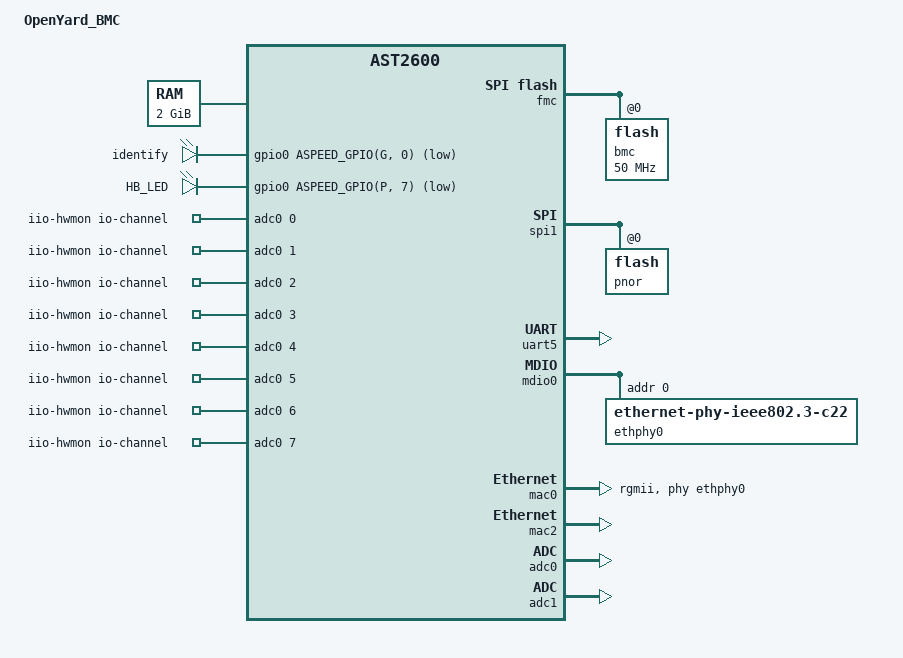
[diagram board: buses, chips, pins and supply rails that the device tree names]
// SPDX-License-Identifier: GPL-2.0
// Copyright (c) 2017 Intel Corporation
/dts-v1/;

#include "aspeed-g6.dtsi"
#include "aspeed-g6-pinctrl.dtsi"
#include <dt-bindings/gpio/aspeed-gpio.h>
#include <dt-bindings/leds/leds-pca955x.h>

/ {
	model = "OpenYard_BMC";
	compatible = "intel,s2600wf-bmc", "aspeed,ast2600";

	chosen {
		stdout-path = &uart5;
		bootargs = "earlycon";
	};

	memory@80000000 {
		device_type = "memory";
		reg = <0x80000000 0x80000000>;
	};

	leds {
        compatible = "gpio-leds";

        // UID led
        identify {
            default-state = "off";
            gpios = <&gpio0 ASPEED_GPIO(G, 0) GPIO_ACTIVE_LOW>;
        };

        // Heart beat led
        heartbeat {
        	label = "HB_LED";
         	gpios = <&gpio0 ASPEED_GPIO(P, 7) GPIO_ACTIVE_LOW>;
			linux,default-trigger = "heartbeat";
        };
    };

//	reserved-memory {
//		#address-cells = <1>;
//		#size-cells = <1>;
//		ranges;
//
//		vga_memory: framebuffer@9f000000 {
//			no-map;
//			reg = <0x9f000000 0x01000000>; /* 16M */
//		};
//	};
//
	iio-hwmon {
		compatible = "iio-hwmon";
		io-channels = <&adc0 0>, <&adc0 1>, <&adc0 2>, <&adc0 3>,
			<&adc0 4>, <&adc0 5>, <&adc0 6>, <&adc0 7>,
			<&adc1 0>, <&adc1 1>, <&adc1 2>, <&adc1 3>,
			<&adc1 4>, <&adc1 5>, <&adc1 6>, <&adc1 7>;
	};

};

&fmc {
	status = "okay";
	flash@0 {
		status = "okay";
		m25p,fast-read;
		label = "bmc";
		spi-rx-bus-width = <4>;
		spi-max-frequency = <50000000>;
#include "openbmc-flash-layout-64.dtsi"
	};
};

&spi1 {
	status = "okay";
	pinctrl-names = "default";
	pinctrl-0 = <&pinctrl_spi1_default>;

	flash@0 {
		status = "okay";
		m25p,fast-read;
		label = "pnor";
	};
};


&uart5 {
	status = "okay";
};


&mdio0 {
	status = "okay";
	ethphy0: ethernet-phy@0 {
		compatible = "ethernet-phy-ieee802.3-c22";
		reg = <0>;
	};	
};

&mac0 {
	status = "okay";

	phy-mode = "rgmii";
	phy-handle = <&ethphy0>;

	pinctrl-names = "default";
	pinctrl-0 = <&pinctrl_rgmii1_default>;
};

&mac2 {
	status = "okay";
	pinctrl-names = "default";
	pinctrl-0 = <&pinctrl_rmii3_default>;
	clocks = <&syscon ASPEED_CLK_GATE_MAC3CLK>,
		 <&syscon ASPEED_CLK_MAC3RCLK>;
	clock-names = "MACCLK", "RCLK";
	use-ncsi;
};

&adc0 {
	vref = <2500>;
	status = "okay";

	pinctrl-names = "default";
	pinctrl-0 = <&pinctrl_adc0_default &pinctrl_adc1_default
		&pinctrl_adc2_default &pinctrl_adc3_default
		&pinctrl_adc4_default &pinctrl_adc5_default
		&pinctrl_adc6_default &pinctrl_adc7_default>;
};

&adc1 {
	vref = <2500>;
	status = "okay";

	pinctrl-names = "default";
	pinctrl-0 = <&pinctrl_adc8_default &pinctrl_adc9_default
		&pinctrl_adc10_default &pinctrl_adc11_default
		&pinctrl_adc12_default &pinctrl_adc13_default
		&pinctrl_adc14_default &pinctrl_adc15_default>;
};


//&i2c1 {
//	status = "okay";
//};
//
//&i2c2 {
//	status = "okay";
//};
//
//&i2c3 {
//	status = "okay";
//};
//
//&i2c4 {
//	status = "okay";
//};
//
//&i2c5 {
//	status = "okay";
//};
//
//&i2c6 {
//	status = "okay";
//};
//
//&i2c7 {
//	status = "okay";
//};
//
//&i2c13 {
//	status = "okay";
//};
//
//&gfx {
//	status = "okay";
//};
//
//&pinctrl {
//	aspeed,external-nodes = <&gfx &lhc>;
//};

//&pwm_tacho {
//	status = "okay";
//	pinctrl-names = "default";
//	pinctrl-0 = <&pinctrl_pwm0_default &pinctrl_pwm1_default
//			 &pinctrl_pwm2_default &pinctrl_pwm3_default
//			 &pinctrl_pwm4_default &pinctrl_pwm5_default
//			 &pinctrl_pwm6_default &pinctrl_pwm7_default>;
//};
